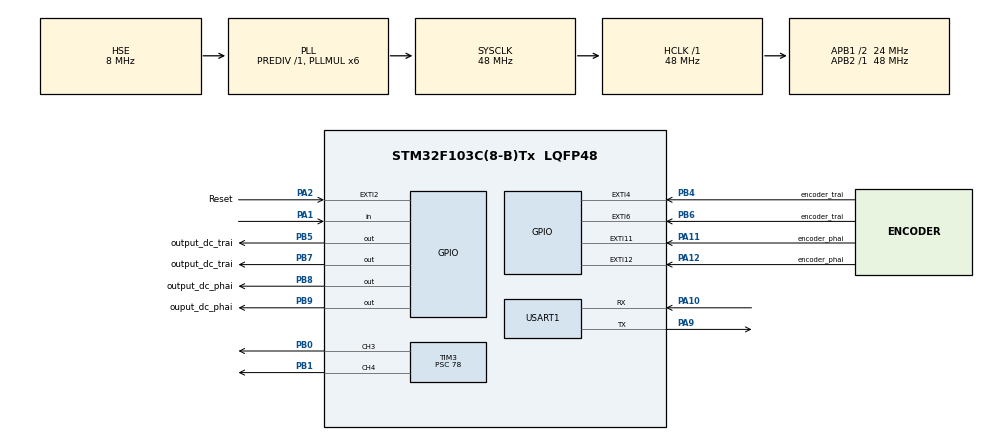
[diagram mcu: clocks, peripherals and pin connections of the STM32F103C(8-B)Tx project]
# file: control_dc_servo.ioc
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Mcu.Family=STM32F1
Mcu.Name=STM32F103C(8-B)Tx
Mcu.Package=LQFP48
NVIC.EXTI15_10_IRQn=true\:0\:0\:false\:false\:true\:true\:true
NVIC.EXTI2_IRQn=true\:0\:0\:true\:false\:true\:true\:true
NVIC.EXTI4_IRQn=true\:0\:0\:true\:false\:true\:true\:true
NVIC.EXTI9_5_IRQn=true\:0\:0\:true\:false\:true\:true\:true
NVIC.PriorityGroup=NVIC_PRIORITYGROUP_4
NVIC.TIM2_IRQn=true\:0\:0\:true\:false\:true\:true\:true
NVIC.TIM3_IRQn=true\:0\:0\:false\:false\:true\:true\:true
NVIC.USART1_IRQn=true\:1\:0\:true\:false\:true\:true\:true
PA1.GPIO_PuPd=GPIO_PULLUP
PA1.Signal=GPIO_Input
PA10.Mode=Asynchronous
PA10.Signal=USART1_RX
PA11.GPIO_Label=encoder_phai
PA11.GPIO_ModeDefaultEXTI=GPIO_MODE_IT_RISING_FALLING
PA11.GPIO_PuPd=GPIO_NOPULL
PA11.Signal=GPXTI11
PA12.GPIO_Label=encoder_phai
PA12.GPIO_ModeDefaultEXTI=GPIO_MODE_IT_RISING_FALLING
PA12.GPIO_PuPd=GPIO_NOPULL
PA12.Signal=GPXTI12
PA13.Mode=Serial_Wire
PA13.Signal=SYS_JTMS-SWDIO
PA14.Mode=Serial_Wire
PA14.Signal=SYS_JTCK-SWCLK
PA2.GPIO_Label=Reset
PA2.GPIO_ModeDefaultEXTI=GPIO_MODE_IT_FALLING
PA2.GPIO_PuPd=GPIO_PULLUP
PA2.Signal=GPXTI2
PA9.Mode=Asynchronous
PA9.Signal=USART1_TX
PB0.GPIO_ModeDefaultPP=GPIO_MODE_AF_PP
PB0.GPIO_Speed=GPIO_SPEED_FREQ_LOW
PB0.Signal=S_TIM3_CH3
PB1.GPIO_ModeDefaultPP=GPIO_MODE_AF_PP
PB1.GPIO_Speed=GPIO_SPEED_FREQ_LOW
PB1.Signal=S_TIM3_CH4
PB4.GPIO_Label=encoder_trai
PB4.GPIO_ModeDefaultEXTI=GPIO_MODE_IT_RISING_FALLING
PB4.GPIO_PuPd=GPIO_NOPULL
PB4.Signal=GPXTI4
PB5.GPIO_Label=output_dc_trai
PB5.GPIO_ModeDefaultOutputPP=GPIO_MODE_OUTPUT_PP
PB5.GPIO_PuPd=GPIO_NOPULL
PB5.GPIO_Speed=GPIO_SPEED_FREQ_LOW
PB5.PinState=GPIO_PIN_RESET
PB5.Signal=GPIO_Output
PB6.GPIO_Label=encoder_trai
PB6.GPIO_ModeDefaultEXTI=GPIO_MODE_IT_RISING_FALLING
PB6.GPIO_PuPd=GPIO_NOPULL
PB6.Signal=GPXTI6
PB7.GPIO_Label=output_dc_trai
PB7.GPIO_ModeDefaultOutputPP=GPIO_MODE_OUTPUT_PP
PB7.GPIO_PuPd=GPIO_NOPULL
PB7.GPIO_Speed=GPIO_SPEED_FREQ_LOW
PB7.PinState=GPIO_PIN_RESET
PB7.Signal=GPIO_Output
PB8.GPIO_Label=output_dc_phai
PB8.GPIO_ModeDefaultOutputPP=GPIO_MODE_OUTPUT_PP
PB8.GPIO_PuPd=GPIO_NOPULL
PB8.GPIO_Speed=GPIO_SPEED_FREQ_LOW
PB8.PinState=GPIO_PIN_RESET
PB8.Signal=GPIO_Output
PB9.GPIO_Label=ouput_dc_phai
PB9.GPIO_ModeDefaultOutputPP=GPIO_MODE_OUTPUT_PP
PB9.GPIO_PuPd=GPIO_NOPULL
PB9.GPIO_Speed=GPIO_SPEED_FREQ_LOW
PB9.PinState=GPIO_PIN_RESET
PB9.Signal=GPIO_Output
PD0-OSC_IN.Mode=HSE-External-Oscillator
PD0-OSC_IN.Signal=RCC_OSC_IN
PD1-OSC_OUT.Mode=HSE-External-Oscillator
PD1-OSC_OUT.Signal=RCC_OSC_OUT
ProjectManager.HeapSize=0x200
ProjectManager.StackSize=0x400
ProjectManager.TargetToolchain=MDK-ARM V5
RCC.AHBFreq_Value=48000000
RCC.APB1CLKDivider=RCC_HCLK_DIV2
RCC.APB1Freq_Value=24000000
RCC.APB1TimFreq_Value=48000000
RCC.APB2Freq_Value=48000000
RCC.APB2TimFreq_Value=48000000
RCC.HCLKFreq_Value=48000000
RCC.PLLMUL=RCC_PLL_MUL6
RCC.PLLSourceVirtual=RCC_PLLSOURCE_HSE
RCC.SYSCLKFreq_VALUE=48000000
RCC.SYSCLKSource=RCC_SYSCLKSOURCE_PLLCLK
RCC.USBFreq_Value=48000000
RCC.VDD_VALUE=3.3
SH.S_TIM3_CH3.0=TIM3_CH3,PWM Generation3 CH3
SH.S_TIM3_CH4.0=TIM3_CH4,PWM Generation4 CH4
TIM2.Period=19
TIM2.Prescaler=2399
TIM3.Channel-PWM\ Generation3\ CH3=TIM_CHANNEL_3
TIM3.Channel-PWM\ Generation4\ CH4=TIM_CHANNEL_4
TIM3.Period=99
TIM3.Prescaler=78
USART1.VirtualMode=VM_ASYNC
VP_TIM2_VS_ClockSourceINT.Mode=Internal
VP_TIM3_VS_ClockSourceINT.Mode=Internal
board=custom

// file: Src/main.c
/* USER CODE BEGIN Header */
/**
  ******************************************************************************
  * @file           : main.c
  * @brief          : Main program body
  ******************************************************************************
  * @attention
  *
  * <h2><center>&copy; Copyright (c) 2022 STMicroelectronics.
  * All rights reserved.</center></h2>
  *
  * This software component is licensed by ST under BSD 3-Clause license,
  * the "License"; You may not use this file except in compliance with the
  * License. You may obtain a copy of the License at:
  *                        opensource.org/licenses/BSD-3-Clause
  *
  ******************************************************************************
  */
/* USER CODE END Header */

#include "main.h"

/* USER CODE BEGIN Includes */
#include "string.h"
#include "stdio.h"
#include "stdlib.h"
#include "stdbool.h"
/* USER CODE END Includes */

/* USER CODE BEGIN PD */

#define pi 3.1415
#define SampleTime 0.01
#define van_toc 0.318   // phan tram %

#define Kp_phai 0.27 //0.23251
#define Ki_phai 3.243 //3.34671

#define Kp_trai 0.23251 //0.23251
#define Ki_trai 3.34671 //3.34671

#define d 1			// khoang cach tu xe -> human    d: 1 - 2 m
/* USER CODE END PD */

TIM_HandleTypeDef htim2;
TIM_HandleTypeDef htim3;

UART_HandleTypeDef huart1;

/* USER CODE BEGIN PV */
uint32_t CntTmp;
int RealVel_phai, RealVel_trai;
uint16_t CntVel_phai, CntVel_trai, HILIM, LOLIM;
uint16_t tick = 0, count = 0;
uint8_t pwm_phai , pwm_trai;

bool run = false;
float Real_Speed_left,Real_Speed_right,DesiredSpeed, van_toc_phai, van_toc_trai, DesiredSpeed_phai, DesiredSpeed_trai;
uint16_t time;

volatile uint8_t uartDataReady = 0;
volatile uint8_t Rx_Buffer[30];
volatile uint8_t Rx_indx = 0;
float distance = 0.0, distance_phai, distance_trai ;
uint8_t confirmChar = 'B';
/* USER CODE END PV */

void SystemClock_Config(void);
static void MX_GPIO_Init(void);
static void MX_TIM2_Init(void);
static void MX_TIM3_Init(void);
static void MX_USART1_UART_Init(void);

/* USER CODE BEGIN 0 */
#ifdef __GNUC__
	#define PUTCHAR_PROTOTYPE int __io_putchar(int ch)
#else
	#define PUTCHAR_PROTOTYPE int fputc(int ch, FILE *f)
	#define GETCHAR_PROTOTYPE int fgetc(FILE *f)
#endif
	PUTCHAR_PROTOTYPE
	{
		HAL_UART_Transmit(&huart1, (uint8_t*)&ch,1,100);
		return ch;
	}

void removeChars(char* str, char c)
{
    int len = strlen(str);
    int i, j;

    for (i = 0, j = 0; i < len; i++)      // CHAY QUA TUNG KY TU VA KIEM TRA KY TU CAN XOA
		{
        if (str[i] != c)   //   vi tri i khac ky tu can xoa
				{
            str[j++] = str[i];
        }
    }
    str[j] = '0';   // KIEN BUI , REMOVECHAR(K) - > IEN BUI
}
void di_thang()
	{
		van_toc_phai=van_toc_trai=van_toc;

		HAL_GPIO_WritePin(GPIOB, GPIO_PIN_7, GPIO_PIN_SET);    //dc trai
		HAL_GPIO_WritePin(GPIOB, GPIO_PIN_5, GPIO_PIN_RESET);

		HAL_GPIO_WritePin(GPIOB, GPIO_PIN_9, GPIO_PIN_RESET);   // dc phai
		HAL_GPIO_WritePin(GPIOB, GPIO_PIN_8, GPIO_PIN_SET);
	}
void queo_trai()
	{
		van_toc_trai = van_toc/2.0; van_toc_phai=van_toc;
	}
void queo_phai()
	{
		van_toc_phai = van_toc/2.0; van_toc_trai=van_toc;
	}
void di_lui()
	{
		van_toc_phai=van_toc_trai=van_toc;

		HAL_GPIO_WritePin(GPIOB, GPIO_PIN_5, GPIO_PIN_SET);
		HAL_GPIO_WritePin(GPIOB, GPIO_PIN_7, GPIO_PIN_RESET);

		HAL_GPIO_WritePin(GPIOB, GPIO_PIN_8, GPIO_PIN_RESET);
		HAL_GPIO_WritePin(GPIOB, GPIO_PIN_9, GPIO_PIN_SET);
	}

void stop()
	{
		van_toc_phai=van_toc_trai=0.0;
	}

void trai_lui()
{
	HAL_GPIO_WritePin(GPIOB, GPIO_PIN_7, GPIO_PIN_RESET);    //dc trai quay nguoc chieu
	HAL_GPIO_WritePin(GPIOB, GPIO_PIN_5, GPIO_PIN_SET);
}
void phai_lui()
{
		HAL_GPIO_WritePin(GPIOB, GPIO_PIN_9, GPIO_PIN_SET);   // dc phai
		HAL_GPIO_WritePin(GPIOB, GPIO_PIN_8, GPIO_PIN_RESET);
}
void phai_thang()
{
		HAL_GPIO_WritePin(GPIOB, GPIO_PIN_9, GPIO_PIN_RESET);   // dc phai
		HAL_GPIO_WritePin(GPIOB, GPIO_PIN_8, GPIO_PIN_SET);
}
void trai_thang()
{
		HAL_GPIO_WritePin(GPIOB, GPIO_PIN_7, GPIO_PIN_SET);    //dc trai
		HAL_GPIO_WritePin(GPIOB, GPIO_PIN_5, GPIO_PIN_RESET);
}
void process_uart();
void HAL_UART_RxCpltCallback(UART_HandleTypeDef *huart)
	{

		if(huart->Instance == USART1) //uart1
		{
				if(Rx_indx<29)
				{			//HAL_UART_Transmit(&huart1, &txData, 1, HAL_MAX_DELAY);
					if(uartDataReady==0 )   //uart dang khong xu ly du lieu ,&& Rx_Buffer[0] == '@' && Rx_Buffer[1] != '@'
					{
            if (Rx_Buffer[Rx_indx]=='#' )    // b'100.0,80.0#'  // 13 ky  tu -> Rx_indx = 0-12
							{
								if(Rx_Buffer[3]==',')
									{
										if(Rx_Buffer[0]!='-' && Rx_Buffer[0]!='1')
												{Rx_Buffer[0]='0';}
									}
								if(Rx_Buffer[4] == ',')
									{Rx_Buffer[0]='0';}
								process_uart();
								//uartDataReady=1;
							}
						/*else if(Rx_indx > 9)
							{
							  Rx_indx = 0;
								memset(Rx_Buffer, 0, sizeof(Rx_Buffer));
							}*/
						else
							{
								Rx_indx++;	//vi tri cua ham` nay` la QUAN TRONG
								HAL_UART_Receive_IT(&huart1,&Rx_Buffer[Rx_indx],1);
							}
					}
				}
				else
					Rx_indx=0;

				//HAL_UART_Receive_IT(&huart1,&Rx_Buffer[Rx_indx],1);
		}
	}

void process_uart()
{
								Rx_Buffer[Rx_indx] = '\0';
								//removeChars(Rx_Buffer, '@');
									//100.0,80.0#
									//Rx_Buffer[0]=0;
									   //set cho Rx-Buffer co ket thuc la Null ("\0")   //12-4
									//distance = atof((char*)Rx_Buffer); //convert Rx_Buffer from string to float

									// Extract RPM values for each wheel
									char* token;
									token = strtok((char*)Rx_Buffer, ",");
									if (token != NULL)
									{
										if(token[0]=='-'||token[1]=='-')  // neu gia tri dau tien la am
											{
												//removeChars(token,'-');
												token[0] = '0';
												if(token[1] == '-')
													{token[1] = '0';}
												phai_lui();
												double temp = atof(token);
												DesiredSpeed_phai = (temp > 200) ? 70 : temp;
											}
										else
											{
												phai_thang();
												double temp = atof(token);
												DesiredSpeed_phai = (temp > 200) ? 70 : temp;
											}

										token = strtok(NULL, ",");
										if (token != NULL)
										{
											if(token[0]=='-')
												{
													token[0] = '0';
													trai_lui();
													double temp = atof(token);
													DesiredSpeed_trai = (temp > 200) ? 70 : temp;
												}
											else
												{
													trai_thang();
													double temp = atof(token);
													DesiredSpeed_trai = (temp > 200) ? 70 : temp;
												}
										}
								}

								Rx_indx=0;
								uartDataReady=0;
							  HAL_UART_Receive_IT(&huart1,&Rx_Buffer[Rx_indx],1);

								//HAL_UART_Transmit(&huart1, &confirmChar, 1, HAL_MAX_DELAY);
								//Rx_indx=0;

}
int PIDCtrl_phai(float Desied, float Current , float p_coef, float i_coef)
{
	static float err_p_phai = 0;
	static float iterm_p_phai = 0;
	float err ;
	float pterm, iterm;
	float pidterm ;
	uint16_t pidout ;
	HILIM = 99; LOLIM = 0;

	err	= Desied - Current;
	pterm = p_coef*err;
	iterm = iterm_p_phai + i_coef*err*SampleTime;

	iterm_p_phai = iterm;
	err_p_phai = err;

	pidterm = pterm  + iterm;

	if (pidterm > HILIM)
		pidterm = HILIM;
	else if (pidterm <LOLIM)
		pidterm = LOLIM;
	pidout = (uint16_t)pidterm;
	return pidout;
}
int PIDCtrl_trai(float Desied, float Current , float p_coef, float i_coef)
{
		static float err_p_trai = 0;
		static float iterm_p_trai = 0;
		static float	err_sat_trai = 0;

		float err, err_windup ;
		float pterm, iterm;
		float pidterm, pid_sat;
		uint16_t pidout ;

	HILIM = 99; LOLIM = 0;

	err	= Desied - Current;

	pterm = p_coef*err;
	//err_windup = i_coef*err + Kb*err_sat;
	iterm = iterm_p_trai + i_coef*err*SampleTime;

	iterm_p_trai = iterm;
	err_p_trai = err;

	pidterm = pterm  + iterm;   // just PI

	//Saturation of PIDterm   (bao~ hoa`)
	if (pidterm > HILIM)
		pidterm = HILIM;
	else if (pidterm <LOLIM)
		pidterm = LOLIM;

	//err_sat = pid_sat - pidterm;
	pidout = (uint16_t)pidterm;
	return pidout;
}
void HAL_GPIO_EXTI_Callback(uint16_t GPIO_Pin)
	{

		if(GPIO_Pin == GPIO_PIN_4)
			{
					CntVel_trai++;
			}
		else if(GPIO_Pin == GPIO_PIN_6)
			{
					CntVel_trai++;
			}
		else if(GPIO_Pin == GPIO_PIN_11)
			{
					CntVel_phai++;
			}
		else if(GPIO_Pin == GPIO_PIN_12)
			{
					CntVel_phai++;
			}
		else if(GPIO_Pin == GPIO_PIN_2)   //A2 Reset khi falling
			{
					NVIC_SystemReset();
			}
	}

void HAL_TIM_PeriodElapsedCallback(TIM_HandleTypeDef *htim)
	{
//		run = true;
//		di_thang();

		if(htim->Instance==TIM2) 				// 1ms xay ra ngat
			{
				tick++;
				count++;
				run=true;
				if((tick > 9) && (run == true)) 		// tinh toan van toc moi~ 10ms
 					{
						tick = 0;
						//tính toán toc do rpm cho bieu do C#
						CntTmp = CntVel_phai;   // ppm counter from encoder
						CntVel_phai = 0;
						RealVel_phai = (int)CntTmp*1000.0*60.0/(10.0*19.2*12.0*4.0);	//100/11 ;   // RPM

						CntTmp = CntVel_trai;   // ppm counter from encoder
						CntVel_trai = 0;
						RealVel_trai = (int)CntTmp*1000.0*60.0/(10.0*19.2*12.0*4.0);	//100/11 ;   // RPM

			//-------------- PID dieu chinh toc do cho dong co -----------------------------------

//						van_toc = 0.1 ;
//						DesiredSpeed_phai = van_toc_phai*60.0*2.0/(0.145*pi);
//						DesiredSpeed_trai = van_toc_trai*60.0*2.0/(0.145*pi);

						HAL_GPIO_WritePin(GPIOB, GPIO_PIN_9, GPIO_PIN_RESET);   // dc phai
						HAL_GPIO_WritePin(GPIOB, GPIO_PIN_8, GPIO_PIN_SET);

						HAL_GPIO_WritePin(GPIOB, GPIO_PIN_7, GPIO_PIN_SET);    //dc trai
						HAL_GPIO_WritePin(GPIOB, GPIO_PIN_5, GPIO_PIN_RESET);
						__HAL_TIM_SET_COMPARE(&htim3, TIM_CHANNEL_3, 20);    //PHAI
						__HAL_TIM_SET_COMPARE(&htim3, TIM_CHANNEL_4, 20);		//TRAI

						/*pwm_phai = PIDCtrl_phai(100, RealVel_phai, Kp_phai, Ki_phai);  //phan tram %
						__HAL_TIM_SET_COMPARE(&htim3, TIM_CHANNEL_3, pwm_phai);

						pwm_trai = PIDCtrl_trai(100, RealVel_trai, Kp_trai, Ki_trai);  //phan tram %
						__HAL_TIM_SET_COMPARE(&htim3, TIM_CHANNEL_4, pwm_trai);*/

//						Real_Speed_left = (RealVel_trai*0.145*pi)/(60.0*2.0);     // m/s    // van toc m/s dua tren so rpm
//						Real_Speed_right = (RealVel_phai*0.145*pi)/(60.0*2.0);		// m/s

					}
				if((run == true) && (count > 9))   // sau 10ms se gui Velocity 1 lan
					{
						//printf("%.2f\r \n", RealVel_trai);
						printf("%.2f\r \n", RealVel_phai);
						count = 0;
					}
				if(run == false)   //stop dong co
					{
						stop();
					}
			}

	}
/* USER CODE END 0 */

int main(void)
{

  /* MCU Configuration--------------------------------------------------------*/

  /* Reset of all peripherals, Initializes the Flash interface and the Systick. */

  HAL_Init();

  /* Configure the system clock */
  SystemClock_Config();

  /* Initialize all configured peripherals */
  MX_GPIO_Init();
  MX_TIM2_Init();
  MX_TIM3_Init();
  MX_USART1_UART_Init();
  /* USER CODE BEGIN 2 */
	HAL_TIM_PWM_Start(&htim3, TIM_CHANNEL_3);
	HAL_TIM_PWM_Start(&htim3, TIM_CHANNEL_4);
	HAL_TIM_Base_Start_IT(&htim2);      //start to timer 2 interrupt
	HAL_UART_Receive_IT(&huart1,&Rx_Buffer[Rx_indx],1);
	//HAL_UART_Transmit(&huart1, &confirmChar, 1, HAL_MAX_DELAY);
  /* USER CODE END 2 */
	stop();
  /* Infinite loop */
  while (1)
  {

  }
}

void SystemClock_Config(void)
{
  RCC_OscInitTypeDef RCC_OscInitStruct = {0};
  RCC_ClkInitTypeDef RCC_ClkInitStruct = {0};

  /** Initializes the CPU, AHB and APB busses clocks
  */
  RCC_OscInitStruct.OscillatorType = RCC_OSCILLATORTYPE_HSE;
  RCC_OscInitStruct.HSEState = RCC_HSE_ON;
  RCC_OscInitStruct.HSEPredivValue = RCC_HSE_PREDIV_DIV1;
  RCC_OscInitStruct.HSIState = RCC_HSI_ON;
  RCC_OscInitStruct.PLL.PLLState = RCC_PLL_ON;
  RCC_OscInitStruct.PLL.PLLSource = RCC_PLLSOURCE_HSE;
  RCC_OscInitStruct.PLL.PLLMUL = RCC_PLL_MUL6;
  if (HAL_RCC_OscConfig(&RCC_OscInitStruct) != HAL_OK)
  {
    Error_Handler();
  }
  /** Initializes the CPU, AHB and APB busses clocks
  */
  RCC_ClkInitStruct.ClockType = RCC_CLOCKTYPE_HCLK|RCC_CLOCKTYPE_SYSCLK
                              |RCC_CLOCKTYPE_PCLK1|RCC_CLOCKTYPE_PCLK2;
  RCC_ClkInitStruct.SYSCLKSource = RCC_SYSCLKSOURCE_PLLCLK;
  RCC_ClkInitStruct.AHBCLKDivider = RCC_SYSCLK_DIV1;
  RCC_ClkInitStruct.APB1CLKDivider = RCC_HCLK_DIV2;
  RCC_ClkInitStruct.APB2CLKDivider = RCC_HCLK_DIV1;

  if (HAL_RCC_ClockConfig(&RCC_ClkInitStruct, FLASH_LATENCY_1) != HAL_OK)
  {
    Error_Handler();
  }
}

static void MX_TIM2_Init(void)
{

  TIM_ClockConfigTypeDef sClockSourceConfig = {0};
  TIM_MasterConfigTypeDef sMasterConfig = {0};

  htim2.Instance = TIM2;
  htim2.Init.Prescaler = 2399;
  htim2.Init.CounterMode = TIM_COUNTERMODE_UP;
  htim2.Init.Period = 19;
  htim2.Init.ClockDivision = TIM_CLOCKDIVISION_DIV1;
  htim2.Init.AutoReloadPreload = TIM_AUTORELOAD_PRELOAD_DISABLE;
  if (HAL_TIM_Base_Init(&htim2) != HAL_OK)
  {
    Error_Handler();
  }
  sClockSourceConfig.ClockSource = TIM_CLOCKSOURCE_INTERNAL;
  if (HAL_TIM_ConfigClockSource(&htim2, &sClockSourceConfig) != HAL_OK)
  {
    Error_Handler();
  }
  sMasterConfig.MasterOutputTrigger = TIM_TRGO_RESET;
  sMasterConfig.MasterSlaveMode = TIM_MASTERSLAVEMODE_DISABLE;
  if (HAL_TIMEx_MasterConfigSynchronization(&htim2, &sMasterConfig) != HAL_OK)
  {
    Error_Handler();
  }

}

static void MX_TIM3_Init(void)
{

  TIM_ClockConfigTypeDef sClockSourceConfig = {0};
  TIM_MasterConfigTypeDef sMasterConfig = {0};
  TIM_OC_InitTypeDef sConfigOC = {0};

  htim3.Instance = TIM3;
  htim3.Init.Prescaler = 78;
  htim3.Init.CounterMode = TIM_COUNTERMODE_UP;
  htim3.Init.Period = 99;
  htim3.Init.ClockDivision = TIM_CLOCKDIVISION_DIV1;
  htim3.Init.AutoReloadPreload = TIM_AUTORELOAD_PRELOAD_DISABLE;
  if (HAL_TIM_Base_Init(&htim3) != HAL_OK)
  {
    Error_Handler();
  }
  sClockSourceConfig.ClockSource = TIM_CLOCKSOURCE_INTERNAL;
  if (HAL_TIM_ConfigClockSource(&htim3, &sClockSourceConfig) != HAL_OK)
  {
    Error_Handler();
  }
  if (HAL_TIM_PWM_Init(&htim3) != HAL_OK)
  {
    Error_Handler();
  }
  sMasterConfig.MasterOutputTrigger = TIM_TRGO_RESET;
  sMasterConfig.MasterSlaveMode = TIM_MASTERSLAVEMODE_DISABLE;
  if (HAL_TIMEx_MasterConfigSynchronization(&htim3, &sMasterConfig) != HAL_OK)
  {
    Error_Handler();
  }
  sConfigOC.OCMode = TIM_OCMODE_PWM1;
  sConfigOC.Pulse = 0;
  sConfigOC.OCPolarity = TIM_OCPOLARITY_HIGH;
  sConfigOC.OCFastMode = TIM_OCFAST_DISABLE;
  if (HAL_TIM_PWM_ConfigChannel(&htim3, &sConfigOC, TIM_CHANNEL_3) != HAL_OK)
  {
    Error_Handler();
  }
  if (HAL_TIM_PWM_ConfigChannel(&htim3, &sConfigOC, TIM_CHANNEL_4) != HAL_OK)
  {
    Error_Handler();
  }
  HAL_TIM_MspPostInit(&htim3);

}

static void MX_USART1_UART_Init(void)
{

  huart1.Instance = USART1;
  huart1.Init.BaudRate = 115200;
  huart1.Init.WordLength = UART_WORDLENGTH_8B;
  huart1.Init.StopBits = UART_STOPBITS_1;
  huart1.Init.Parity = UART_PARITY_NONE;
  huart1.Init.Mode = UART_MODE_TX_RX;
  huart1.Init.HwFlowCtl = UART_HWCONTROL_NONE;
  huart1.Init.OverSampling = UART_OVERSAMPLING_16;
  if (HAL_UART_Init(&huart1) != HAL_OK)
  {
    Error_Handler();
  }

}

static void MX_GPIO_Init(void)
{
  GPIO_InitTypeDef GPIO_InitStruct = {0};

  /* GPIO Ports Clock Enable */
  __HAL_RCC_GPIOD_CLK_ENABLE();
  __HAL_RCC_GPIOA_CLK_ENABLE();
  __HAL_RCC_GPIOB_CLK_ENABLE();

  /*Configure GPIO pin Output Level */
  HAL_GPIO_WritePin(GPIOB, output_dc_trai_Pin|output_dc_traiB7_Pin|output_dc_phai_Pin|ouput_dc_phai_Pin, GPIO_PIN_RESET);

  /*Configure GPIO pin : Reset_Pin */
  GPIO_InitStruct.Pin = Reset_Pin;
  GPIO_InitStruct.Mode = GPIO_MODE_IT_FALLING;
  GPIO_InitStruct.Pull = GPIO_PULLUP;
  HAL_GPIO_Init(Reset_GPIO_Port, &GPIO_InitStruct);

  /*Configure GPIO pins : encoder_phai_Pin encoder_phaiA12_Pin */
  GPIO_InitStruct.Pin = encoder_phai_Pin|encoder_phaiA12_Pin;
  GPIO_InitStruct.Mode = GPIO_MODE_IT_RISING_FALLING;
  GPIO_InitStruct.Pull = GPIO_NOPULL;
  HAL_GPIO_Init(GPIOA, &GPIO_InitStruct);

  /*Configure GPIO pins : encoder_trai_Pin encoder_traiB6_Pin */
  GPIO_InitStruct.Pin = encoder_trai_Pin|encoder_traiB6_Pin;
  GPIO_InitStruct.Mode = GPIO_MODE_IT_RISING_FALLING;
  GPIO_InitStruct.Pull = GPIO_NOPULL;
  HAL_GPIO_Init(GPIOB, &GPIO_InitStruct);

  /*Configure GPIO pins : output_dc_trai_Pin output_dc_traiB7_Pin output_dc_phai_Pin ouput_dc_phai_Pin */
  GPIO_InitStruct.Pin = output_dc_trai_Pin|output_dc_traiB7_Pin|output_dc_phai_Pin|ouput_dc_phai_Pin;
  GPIO_InitStruct.Mode = GPIO_MODE_OUTPUT_PP;
  GPIO_InitStruct.Pull = GPIO_NOPULL;
  GPIO_InitStruct.Speed = GPIO_SPEED_FREQ_LOW;
  HAL_GPIO_Init(GPIOB, &GPIO_InitStruct);

  /* EXTI interrupt init*/
  HAL_NVIC_SetPriority(EXTI2_IRQn, 0, 0);
  HAL_NVIC_EnableIRQ(EXTI2_IRQn);

  HAL_NVIC_SetPriority(EXTI4_IRQn, 0, 0);
  HAL_NVIC_EnableIRQ(EXTI4_IRQn);

  HAL_NVIC_SetPriority(EXTI9_5_IRQn, 0, 0);
  HAL_NVIC_EnableIRQ(EXTI9_5_IRQn);

  HAL_NVIC_SetPriority(EXTI15_10_IRQn, 0, 0);
  HAL_NVIC_EnableIRQ(EXTI15_10_IRQn);

}

void Error_Handler(void)
{
}

/************************ (C) COPYRIGHT STMicroelectronics *****END OF FILE****/
